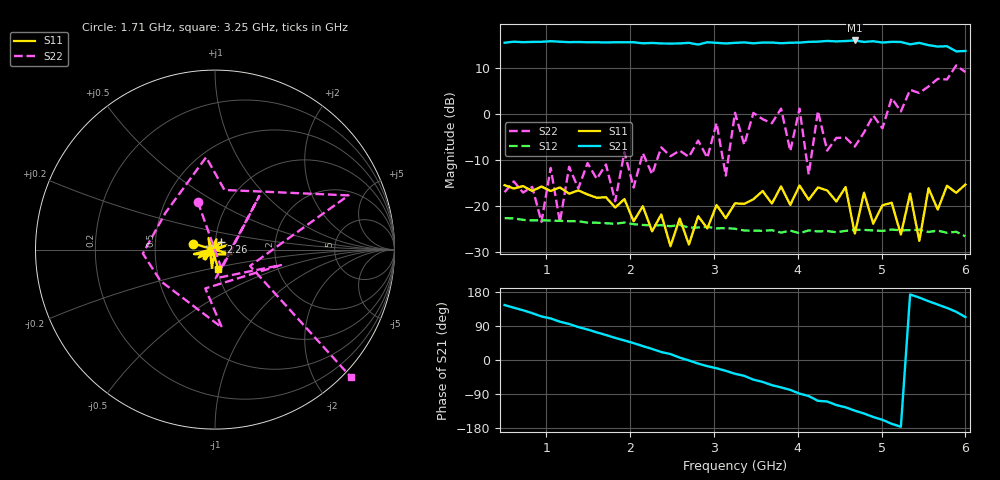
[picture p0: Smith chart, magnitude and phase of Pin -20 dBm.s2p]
! RsaToolbox (C) 2015 Rohde & Schwarz America
! Number of points: 51
! Number of ports: 2
! Balanced ports?: No
# Hz S RI R 50
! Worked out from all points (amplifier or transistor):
!   51 points, 500 MHz to 6 GHz, reference 50 ohm
!   highest |S21| = 16.0 dB at 4.68 GHz (marker M1)
!   |S21| within 3 dB of that: start of sweep to end of sweep
!   unconditionally stable (mu >= 1): start of sweep to 3.006 GHz; 3.044 GHz to 3.221 GHz; 4.296 GHz to 4.788 GHz (the widest 3 of 6)
!   at 1.38 GHz: K = 1.34, MAG = 16.0 dB, |S12| = -23.3 dB
!   at 3.25 GHz: K = 0.12, MSG = 20.2 dB, |S12| = -24.9 dB
!   at 6 GHz: K = -15.07, MSG = 20.1 dB, |S12| = -26.5 dB
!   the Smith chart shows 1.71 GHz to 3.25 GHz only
!   S11 on the Smith chart (normalised r, x): 1.71 GHz: 0.78, +0.05; 2.26 GHz: 1.07, +0.09; 3.25 GHz: 1.01, -0.22
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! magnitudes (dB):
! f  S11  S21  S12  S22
! 500 MHz  -15.4  15.5  -22.6  -17.0
! 940 MHz  -15.7  15.7  -23.0  -23.4
! 1.05 GHz  -16.7  15.9  -23.1  -11.7
! 1.16 GHz  -15.9  15.8  -23.2  -23.4
! 1.27 GHz  -17.3  15.7  -23.3  -11.4
! 1.49 GHz  -17.4  15.6  -23.6  -10.6
! 1.71 GHz  -18.1  15.6  -23.7  -10.9
! 2.26 GHz  -25.4  15.5  -24.2  -13.0
! 2.37 GHz  -21.8  15.4  -24.1  -7.2
! 3.03 GHz  -19.7  15.5  -24.8  -1.9
! 3.14 GHz  -22.6  15.4  -24.8  -13.3
! 3.25 GHz  -19.4  15.5  -24.9  0.3
! 3.8 GHz  -15.7  15.4  -25.7  1.2
! 3.91 GHz  -19.7  15.5  -25.3  -8.0
! 4.02 GHz  -15.5  15.6  -25.9  1.2
! 4.13 GHz  -18.6  15.7  -25.3  -13.1
! 4.24 GHz  -15.9  15.8  -25.5  0.7
! 4.68 GHz  -25.9  16.0  -25.1  -7.0
! 5.12 GHz  -19.2  15.7  -25.1  3.5
! 5.45 GHz  -27.5  15.5  -25.1  4.6
! 5.56 GHz  -16.1  15.0  -25.6  6.0
! 6 GHz  -15.3  13.7  -26.5  9.2
